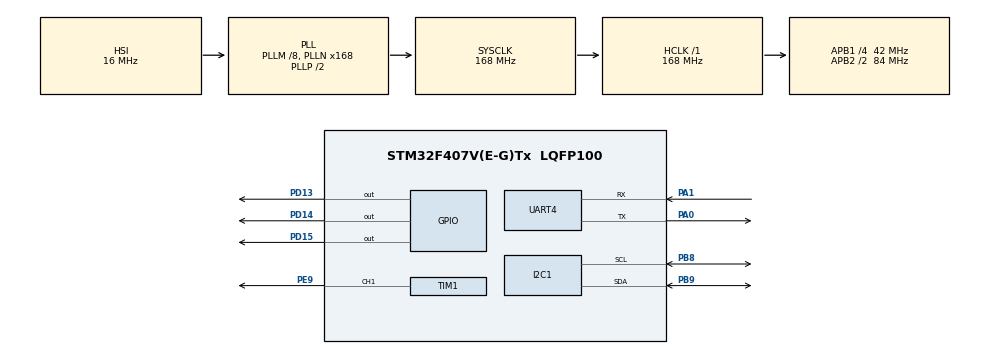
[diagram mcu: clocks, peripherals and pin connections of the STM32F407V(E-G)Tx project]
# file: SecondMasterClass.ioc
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I2C1.I2C_Mode=I2C_Fast
Mcu.Family=STM32F4
Mcu.Name=STM32F407V(E-G)Tx
Mcu.Package=LQFP100
NVIC.PriorityGroup=NVIC_PRIORITYGROUP_4
NVIC.TIM6_DAC_IRQn=true\:0\:0\:false\:false\:true\:true\:true\:true
PA0-WKUP.Mode=Asynchronous
PA0-WKUP.Signal=UART4_TX
PA1.Mode=Asynchronous
PA1.Signal=UART4_RX
PA13.Mode=JTAG_5_pins
PA13.Signal=SYS_JTMS-SWDIO
PA14.Mode=JTAG_5_pins
PA14.Signal=SYS_JTCK-SWCLK
PA15.Mode=JTAG_5_pins
PA15.Signal=SYS_JTDI
PB3.Mode=JTAG_5_pins
PB3.Signal=SYS_JTDO-SWO
PB4.Mode=JTAG_5_pins
PB4.Signal=SYS_JTRST
PB8.Mode=I2C
PB8.Signal=I2C1_SCL
PB9.Mode=I2C
PB9.Signal=I2C1_SDA
PD13.Signal=GPIO_Output
PD14.Signal=GPIO_Output
PD15.Signal=GPIO_Output
PE9.Signal=S_TIM1_CH1
PH0-OSC_IN.Mode=HSE-External-Oscillator
PH0-OSC_IN.Signal=RCC_OSC_IN
PH1-OSC_OUT.Mode=HSE-External-Oscillator
PH1-OSC_OUT.Signal=RCC_OSC_OUT
ProjectManager.HeapSize=0x200
ProjectManager.StackSize=0x400
ProjectManager.TargetToolchain=STM32CubeIDE
RCC.48MHZClocksFreq_Value=84000000
RCC.AHBFreq_Value=168000000
RCC.APB1CLKDivider=RCC_HCLK_DIV4
RCC.APB1Freq_Value=42000000
RCC.APB1TimFreq_Value=84000000
RCC.APB2CLKDivider=RCC_HCLK_DIV2
RCC.APB2Freq_Value=84000000
RCC.APB2TimFreq_Value=168000000
RCC.CortexFreq_Value=168000000
RCC.HCLKFreq_Value=168000000
RCC.HSE_VALUE=25000000
RCC.HSI_VALUE=16000000
RCC.LSE_VALUE=32768
RCC.PLLM=8
RCC.PLLN=168
RCC.SYSCLKFreq_VALUE=168000000
RCC.SYSCLKSource=RCC_SYSCLKSOURCE_PLLCLK
RCC.VCOOutputFreq_Value=336000000
SH.S_TIM1_CH1.0=TIM1_CH1,PWM Generation1 CH1
TIM1.Channel-PWM\ Generation1\ CH1=TIM_CHANNEL_1
TIM1.OCFastMode_PWM-PWM\ Generation1\ CH1=TIM_OCFAST_ENABLE
TIM1.OCMode_PWM-PWM\ Generation1\ CH1=TIM_OCMODE_PWM1
TIM1.Period=9999
TIM1.Prescaler=167
TIM1.Pulse-PWM\ Generation1\ CH1=1000
TIM6.Period=9999
TIM6.Prescaler=8399
UART4.VirtualMode=Asynchronous
VP_TIM1_VS_ClockSourceINT.Mode=Internal
VP_TIM6_VS_ClockSourceINT.Mode=Enable_Timer
board=custom

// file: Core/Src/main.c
/* USER CODE BEGIN Header */
/**
  ******************************************************************************
  * @file           : main.c
  * @brief          : Main program body
  ******************************************************************************
  * @attention
  *
  * Copyright (c) 2023 STMicroelectronics.
  * All rights reserved.
  *
  * This software is licensed under terms that can be found in the LICENSE file
  * in the root directory of this software component.
  * If no LICENSE file comes with this software, it is provided AS-IS.
  *
  ******************************************************************************
  */
/* USER CODE END Header */
#include "main.h"

/* USER CODE BEGIN Includes */
#include "oled.h"
#include "keyboard.h"
/* USER CODE END Includes */

 I2C_HandleTypeDef hi2c1;

TIM_HandleTypeDef htim1;
TIM_HandleTypeDef htim6;

UART_HandleTypeDef huart4;

void SystemClock_Config(void);
static void MX_GPIO_Init(void);
static void MX_I2C1_Init(void);
static void MX_TIM1_Init(void);
static void MX_TIM6_Init(void);
static void MX_UART4_Init(void);

/* USER CODE BEGIN 0 */
static void run(void);
/* USER CODE END 0 */

int main(void)
{

  /* MCU Configuration--------------------------------------------------------*/

  /* Reset of all peripherals, Initializes the Flash interface and the Systick. */
  HAL_Init();

  /* Configure the system clock */
  SystemClock_Config();

  /* Initialize all configured peripherals */
  MX_GPIO_Init();
  MX_I2C1_Init();
  MX_TIM1_Init();
  MX_TIM6_Init();
  MX_UART4_Init();
  /* USER CODE BEGIN 2 */
  oled_Init();
  keyboard_Init();
  /* USER CODE END 2 */

  /* Infinite loop */
  while (1)
  {

    /* USER CODE BEGIN 3 */
	run();
	while(1);
  }
  /* USER CODE END 3 */
}

void SystemClock_Config(void)
{
  RCC_OscInitTypeDef RCC_OscInitStruct = {0};
  RCC_ClkInitTypeDef RCC_ClkInitStruct = {0};

  /** Configure the main internal regulator output voltage
  */
  __HAL_RCC_PWR_CLK_ENABLE();
  __HAL_PWR_VOLTAGESCALING_CONFIG(PWR_REGULATOR_VOLTAGE_SCALE1);

  /** Initializes the RCC Oscillators according to the specified parameters
  * in the RCC_OscInitTypeDef structure.
  */
  RCC_OscInitStruct.OscillatorType = RCC_OSCILLATORTYPE_HSI;
  RCC_OscInitStruct.HSIState = RCC_HSI_ON;
  RCC_OscInitStruct.HSICalibrationValue = RCC_HSICALIBRATION_DEFAULT;
  RCC_OscInitStruct.PLL.PLLState = RCC_PLL_ON;
  RCC_OscInitStruct.PLL.PLLSource = RCC_PLLSOURCE_HSI;
  RCC_OscInitStruct.PLL.PLLM = 8;
  RCC_OscInitStruct.PLL.PLLN = 168;
  RCC_OscInitStruct.PLL.PLLP = RCC_PLLP_DIV2;
  RCC_OscInitStruct.PLL.PLLQ = 4;
  if (HAL_RCC_OscConfig(&RCC_OscInitStruct) != HAL_OK)
  {
    Error_Handler();
  }

  /** Initializes the CPU, AHB and APB buses clocks
  */
  RCC_ClkInitStruct.ClockType = RCC_CLOCKTYPE_HCLK|RCC_CLOCKTYPE_SYSCLK
                              |RCC_CLOCKTYPE_PCLK1|RCC_CLOCKTYPE_PCLK2;
  RCC_ClkInitStruct.SYSCLKSource = RCC_SYSCLKSOURCE_PLLCLK;
  RCC_ClkInitStruct.AHBCLKDivider = RCC_SYSCLK_DIV1;
  RCC_ClkInitStruct.APB1CLKDivider = RCC_HCLK_DIV4;
  RCC_ClkInitStruct.APB2CLKDivider = RCC_HCLK_DIV2;

  if (HAL_RCC_ClockConfig(&RCC_ClkInitStruct, FLASH_LATENCY_5) != HAL_OK)
  {
    Error_Handler();
  }
}

static void MX_I2C1_Init(void)
{

  hi2c1.Instance = I2C1;
  hi2c1.Init.ClockSpeed = 400000;
  hi2c1.Init.DutyCycle = I2C_DUTYCYCLE_2;
  hi2c1.Init.OwnAddress1 = 0;
  hi2c1.Init.AddressingMode = I2C_ADDRESSINGMODE_7BIT;
  hi2c1.Init.DualAddressMode = I2C_DUALADDRESS_DISABLE;
  hi2c1.Init.OwnAddress2 = 0;
  hi2c1.Init.GeneralCallMode = I2C_GENERALCALL_DISABLE;
  hi2c1.Init.NoStretchMode = I2C_NOSTRETCH_DISABLE;
  if (HAL_I2C_Init(&hi2c1) != HAL_OK)
  {
    Error_Handler();
  }

}

static void MX_TIM1_Init(void)
{

  TIM_ClockConfigTypeDef sClockSourceConfig = {0};
  TIM_MasterConfigTypeDef sMasterConfig = {0};
  TIM_OC_InitTypeDef sConfigOC = {0};
  TIM_BreakDeadTimeConfigTypeDef sBreakDeadTimeConfig = {0};

  htim1.Instance = TIM1;
  htim1.Init.Prescaler = 167;
  htim1.Init.CounterMode = TIM_COUNTERMODE_UP;
  htim1.Init.Period = 9999;
  htim1.Init.ClockDivision = TIM_CLOCKDIVISION_DIV1;
  htim1.Init.RepetitionCounter = 0;
  htim1.Init.AutoReloadPreload = TIM_AUTORELOAD_PRELOAD_DISABLE;
  if (HAL_TIM_Base_Init(&htim1) != HAL_OK)
  {
    Error_Handler();
  }
  sClockSourceConfig.ClockSource = TIM_CLOCKSOURCE_INTERNAL;
  if (HAL_TIM_ConfigClockSource(&htim1, &sClockSourceConfig) != HAL_OK)
  {
    Error_Handler();
  }
  if (HAL_TIM_PWM_Init(&htim1) != HAL_OK)
  {
    Error_Handler();
  }
  sMasterConfig.MasterOutputTrigger = TIM_TRGO_RESET;
  sMasterConfig.MasterSlaveMode = TIM_MASTERSLAVEMODE_DISABLE;
  if (HAL_TIMEx_MasterConfigSynchronization(&htim1, &sMasterConfig) != HAL_OK)
  {
    Error_Handler();
  }
  sConfigOC.OCMode = TIM_OCMODE_PWM1;
  sConfigOC.Pulse = 1000;
  sConfigOC.OCPolarity = TIM_OCPOLARITY_HIGH;
  sConfigOC.OCNPolarity = TIM_OCNPOLARITY_HIGH;
  sConfigOC.OCFastMode = TIM_OCFAST_ENABLE;
  sConfigOC.OCIdleState = TIM_OCIDLESTATE_RESET;
  sConfigOC.OCNIdleState = TIM_OCNIDLESTATE_RESET;
  if (HAL_TIM_PWM_ConfigChannel(&htim1, &sConfigOC, TIM_CHANNEL_1) != HAL_OK)
  {
    Error_Handler();
  }
  sBreakDeadTimeConfig.OffStateRunMode = TIM_OSSR_DISABLE;
  sBreakDeadTimeConfig.OffStateIDLEMode = TIM_OSSI_DISABLE;
  sBreakDeadTimeConfig.LockLevel = TIM_LOCKLEVEL_OFF;
  sBreakDeadTimeConfig.DeadTime = 0;
  sBreakDeadTimeConfig.BreakState = TIM_BREAK_DISABLE;
  sBreakDeadTimeConfig.BreakPolarity = TIM_BREAKPOLARITY_HIGH;
  sBreakDeadTimeConfig.AutomaticOutput = TIM_AUTOMATICOUTPUT_DISABLE;
  if (HAL_TIMEx_ConfigBreakDeadTime(&htim1, &sBreakDeadTimeConfig) != HAL_OK)
  {
    Error_Handler();
  }
  HAL_TIM_MspPostInit(&htim1);

}

static void MX_TIM6_Init(void)
{

  TIM_MasterConfigTypeDef sMasterConfig = {0};

  htim6.Instance = TIM6;
  htim6.Init.Prescaler = 8399;
  htim6.Init.CounterMode = TIM_COUNTERMODE_UP;
  htim6.Init.Period = 9999;
  htim6.Init.AutoReloadPreload = TIM_AUTORELOAD_PRELOAD_DISABLE;
  if (HAL_TIM_Base_Init(&htim6) != HAL_OK)
  {
    Error_Handler();
  }
  sMasterConfig.MasterOutputTrigger = TIM_TRGO_RESET;
  sMasterConfig.MasterSlaveMode = TIM_MASTERSLAVEMODE_DISABLE;
  if (HAL_TIMEx_MasterConfigSynchronization(&htim6, &sMasterConfig) != HAL_OK)
  {
    Error_Handler();
  }

}

static void MX_UART4_Init(void)
{

  huart4.Instance = UART4;
  huart4.Init.BaudRate = 115200;
  huart4.Init.WordLength = UART_WORDLENGTH_8B;
  huart4.Init.StopBits = UART_STOPBITS_1;
  huart4.Init.Parity = UART_PARITY_NONE;
  huart4.Init.Mode = UART_MODE_TX_RX;
  huart4.Init.HwFlowCtl = UART_HWCONTROL_NONE;
  huart4.Init.OverSampling = UART_OVERSAMPLING_16;
  if (HAL_UART_Init(&huart4) != HAL_OK)
  {
    Error_Handler();
  }

}

static void MX_GPIO_Init(void)
{
  GPIO_InitTypeDef GPIO_InitStruct = {0};

  /* GPIO Ports Clock Enable */
  __HAL_RCC_GPIOH_CLK_ENABLE();
  __HAL_RCC_GPIOA_CLK_ENABLE();
  __HAL_RCC_GPIOE_CLK_ENABLE();
  __HAL_RCC_GPIOD_CLK_ENABLE();
  __HAL_RCC_GPIOB_CLK_ENABLE();

  /*Configure GPIO pin Output Level */
  HAL_GPIO_WritePin(GPIOD, GPIO_PIN_13|GPIO_PIN_14|GPIO_PIN_15, GPIO_PIN_RESET);

  /*Configure GPIO pins : PD13 PD14 PD15 */
  GPIO_InitStruct.Pin = GPIO_PIN_13|GPIO_PIN_14|GPIO_PIN_15;
  GPIO_InitStruct.Mode = GPIO_MODE_OUTPUT_PP;
  GPIO_InitStruct.Pull = GPIO_NOPULL;
  GPIO_InitStruct.Speed = GPIO_SPEED_FREQ_LOW;
  HAL_GPIO_Init(GPIOD, &GPIO_InitStruct);

}

/* USER CODE BEGIN 4 */
static HAL_StatusTypeDef draw_hello_screen(void){
	HAL_StatusTypeDef status;

	oled_Fill(Black);
	oled_ResetCursor();
	oled_WriteString("Hello!", 6, Font_16x26, White);
	oled_SetCursor(0,40);
	oled_WriteString("press any key", 13, Font_7x10, White);
	oled_SetCursor(0,50);
	oled_WriteString("to continue", 11, Font_7x10, White);

	status = oled_UpdateScreen();
	if (status != HAL_OK) {
		UART_Transmit("Can't draw the hello screen\n");
		return status;
	}

	BUTTON_t btn = BTN_NULL;
	while(btn == BTN_NULL){
		status = keyboard_WaitButton(&btn);
		if (status != HAL_OK) {
			UART_Transmit("Can't wait button after hello screen\n");
			break;
		}
	}
	return status;
}

static HAL_StatusTypeDef read_timer(uint16_t* timer){
	HAL_StatusTypeDef status;
	char time_str = '5';
	while(1){
		oled_Fill(Black);
		oled_ResetCursor();
		oled_WriteString("Time: ", 6, Font_7x10, White);
		oled_WriteString(&time_str, 1, Font_7x10, White);
		oled_WriteString("s", 1, Font_7x10, White);

		status = oled_UpdateScreen();
		if (status != HAL_OK) {
			UART_Transmit("Can't draw time enter screen\n");
			return status;
		}

		BUTTON_t btn = BTN_NULL;
		while(btn == BTN_NULL){
			status = keyboard_WaitButton(&btn);
			if (status != HAL_OK) {
				UART_Transmit("Can't wait a button from keyboard\n");
				return status;
			}
		}

		char c = keyboard_ConvertButtonPhoneCode(btn);
		if (c == '#') break;
		if (c >= '0' && c <= '9') {
			time_str = c;
		}
	}

	*timer = time_str - '0';
	return status;
}

static uint16_t counter;
static HAL_StatusTypeDef draw_counter(void){
	char time_str = '0' + counter;
	oled_Fill(Black);
	oled_ResetCursor();
	oled_WriteString("Remains: ", 9, Font_7x10, White);
	oled_WriteString(&time_str, 1, Font_7x10, White);
	oled_WriteString("s", 1, Font_7x10, White);

	HAL_StatusTypeDef status = oled_UpdateScreen();
	if (status != HAL_OK) {
		UART_Transmit("Can't update a time remaining screen\n");
	}
	return status;
}

static HAL_StatusTypeDef count_down(uint16_t* timer){
	counter = *timer;

	HAL_StatusTypeDef status;
	status = draw_counter();
	if (status != HAL_OK) {
		UART_Transmit("Can't draw a time remaining screen\n");
		return status;
	}

	status = HAL_TIM_Base_Start_IT(&htim6);
	if (status != HAL_OK) {
		UART_Transmit("Can't start count down timer\n");
	}
	return status;
}

static HAL_StatusTypeDef draw_final_screen(void){
	oled_Fill(Black);
	oled_ResetCursor();
	oled_WriteString("You are", 7, Font_16x26, White);
	oled_SetCursor(0,27);
	oled_WriteString("BOOMED!", 7, Font_16x26, White);

	HAL_StatusTypeDef status = oled_UpdateScreen();
	if (status != HAL_OK) {
		UART_Transmit("Can't update final screen\n");
	}
	return status;
}

static void run(void){
	HAL_StatusTypeDef status;

	status = draw_hello_screen();
	if (status != HAL_OK) {
		UART_Transmit("Can't draw hello screen and wait until button\n");
		return;
	}

	uint16_t timer = 0;
	status = read_timer(&timer);
	if (status != HAL_OK) {
		UART_Transmit("Can't read the timer\n");
		return;
	}

	status = count_down(&timer);
	if (status != HAL_OK) {
		UART_Transmit("Can't set count down timer\n");
		return;
	}
}

void HAL_TIM_PeriodElapsedCallback(TIM_HandleTypeDef *htim){
	if (htim->Instance != TIM6) return;

	draw_counter();
	if (counter-- > 0) return;

	HAL_StatusTypeDef status;
	status = HAL_TIM_PWM_Start(&htim1, TIM_CHANNEL_1);
	if (status != HAL_OK) {
		UART_Transmit("Can't start timer 1 channel 1\n");
	}

	status = draw_final_screen();
	if (status != HAL_OK) {
		UART_Transmit("Can't draw the final screen\n");
	}

	HAL_Delay(200);

	status = HAL_TIM_PWM_Stop(&htim1, TIM_CHANNEL_1);
	if (status != HAL_OK) {
		UART_Transmit("Can't stop timer 1 channel 1\n");
	}

	status = HAL_TIM_Base_Stop_IT(&htim6);
	if (status != HAL_OK) {
		UART_Transmit("Can't stop interrupting timer 6\n");
	}
}
/* USER CODE END 4 */

void Error_Handler(void)
{
  __disable_irq();
  while (1)
  {
  }
}
